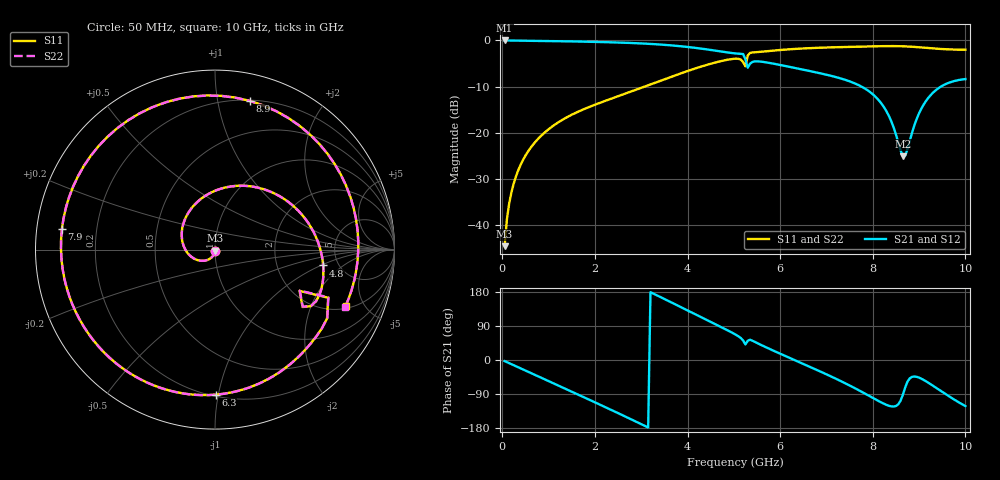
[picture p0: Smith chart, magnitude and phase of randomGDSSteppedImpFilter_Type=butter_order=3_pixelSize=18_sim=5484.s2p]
! freq	dB(S11)	phase(S11)	dB(S12)	phase(S12)
!  dB(S21)	phase(S21)	dB(S22)	phase(S22)
!S-par simulation data
#  GHz  S  DB  R 50
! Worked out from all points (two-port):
!   200 points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, 50 MHz to 10 GHz, reference 50 ohm
!   highest |S21| = -0.01 dB at 50 MHz (marker M1); lowest = -25.1 dB at 8.65 GHz (marker M2)
!   |S21| within 3 dB of the highest: start of sweep to 5.202 GHz
!   lowest |S11| = -44.6 dB at 50 MHz (marker M3), VSWR 1.01, Z = 50 - j0.591 ohm
!   |S11| at or under -10 dB: start of sweep to 3.08 GHz
!   |S22| runs from -44.6 to -1.2 dB; largest |S21 - S12| = 0
!   S11 on the Smith chart (normalised r, x): 50 MHz: 1.00, -0.01; 4.8 GHz: 3.80, -1.06; 6.3 GHz: 0.21, -0.98; 7.9 GHz: 0.08, +0.07; 8.9 GHz: 0.21, +1.24; 10 GHz: 2.15, -3.64
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0.05  -44.57 -89.6  -0.01 -2.8  -0.01 -2.8  -44.57 -89.6
0.2  -32.80 -100.4  -0.02 -11.2  -0.02 -11.2  -32.80 -100.5
0.5  -24.96 -118.2  -0.05 -27.9  -0.05 -27.9  -24.96 -118.3
1.15  -18.13 -154.8  -0.15 -64.0  -0.15 -64.0  -18.13 -155.1
1.75  -14.94 171.5  -0.26 -97.6  -0.26 -97.6  -14.94 171.1
2.65  -11.56 120.2  -0.50 -148.8  -0.50 -148.8  -11.56 119.8
3.4  -8.81 76.0  -0.88 167.1  -0.88 167.1  -8.81 75.8
4.15  -6.13 30.9  -1.59 121.8  -1.59 121.8  -6.13 30.9
4.8  -4.31 -8.3  -2.51 82.3  -2.51 82.3  -4.31 -8.2
5.05  -3.95 -23.8  -2.83 66.3  -2.83 66.3  -3.95 -23.6
5.25  -5.61 -26.0  -4.07 41.1  -4.07 41.1  -5.60 -25.8
5.35  -2.70 -31.6  -5.03 53.5  -5.03 53.5  -2.69 -31.4
5.75  -2.30 -59.6  -4.84 30.4  -4.84 30.4  -2.30 -59.3
6.3  -1.85 -89.8  -5.92 0.4  -5.92 0.4  -1.85 -89.4
6.7  -1.64 -111.6  -6.76 -21.2  -6.76 -21.2  -1.64 -111.2
7.3  -1.45 -146.4  -8.21 -55.1  -8.21 -55.1  -1.45 -146.0
7.9  -1.30 172.3  -10.88 -93.2  -10.88 -93.2  -1.31 172.6
8.35  -1.23 133.5  -16.40 -120.8  -16.40 -120.8  -1.23 133.6
8.65  -1.27 103.4  -25.06 -91.7  -25.06 -91.7  -1.27 103.4
8.9  -1.40 76.9  -18.33 -43.6  -18.33 -43.6  -1.41 76.7
9.4  -1.80 26.0  -10.48 -76.1  -10.48 -76.1  -1.81 25.5
10  -2.02 -23.3  -8.37 -121.7  -8.37 -121.7  -2.02 -23.9
